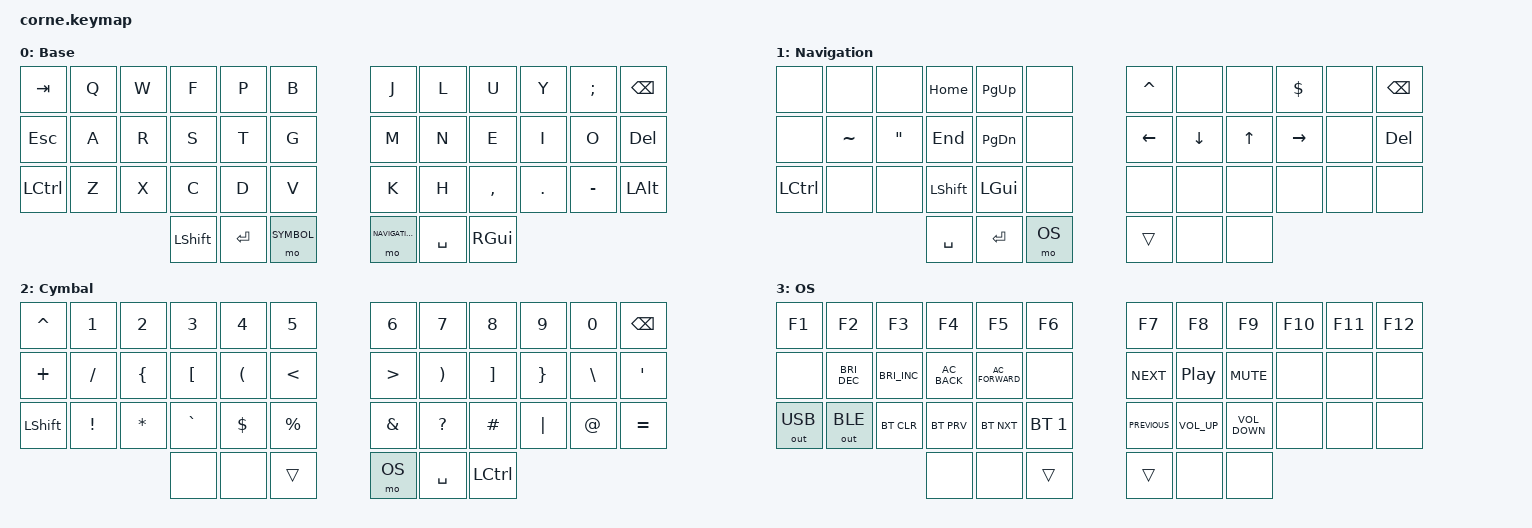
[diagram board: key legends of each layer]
#include <behaviors.dtsi>
#include <dt-bindings/zmk/keys.h>
#include <dt-bindings/zmk/bt.h>
#include <dt-bindings/zmk/matrix_transform.h>

#define NAVIGATION 1
#define SYMBOL 2
#define OS 3

/ {
    chosen {
        zmk,kscan = &kscan0;
        zmk,matrix-transform = &dactyl_transform;
    };

    keymap {
      compatible = "zmk,keymap";
      default_layer { // Layer 0
          display-name = "Base";
          bindings = <
            &kp TAB          &kp Q &kp W &kp F          &kp P     &kp B &kp J &kp L          &kp U         &kp Y   &kp SEMICOLON &kp BACKSPACE
            &kp ESCAPE       &kp A &kp R &kp S          &kp T     &kp G &kp M &kp N          &kp E         &kp I   &kp O         &kp DELETE
            &kp LEFT_CONTROL &kp Z &kp X &kp C          &kp D     &kp V &kp K &kp H          &kp COMMA     &kp DOT &kp MINUS     &kp LEFT_ALT
                                         &kp LEFT_SHIFT &kp ENTER &mo SYMBOL  &mo NAVIGATION &kp SPACE &kp RIGHT_GUI
          >;
        };

      navigation { // Layer 1
          display-name = "Navigation";
          bindings = <
            &none            &none     &none             &kp HOME       &kp PAGE_UP   &none  &kp CARET &none    &none  &kp DOLLAR &none &kp BACKSPACE
            &none            &kp TILDE &kp DOUBLE_QUOTES &kp END        &kp PAGE_DOWN &none  &kp LEFT  &kp DOWN &kp UP &kp RIGHT  &none &kp DELETE
            &kp LEFT_CONTROL &none     &none             &kp LEFT_SHIFT &kp LEFT_GUI  &none  &none     &none    &none  &none      &none &none
                                                         &kp SPACE      &kp ENTER     &mo OS &trans    &none    &none
          >;
        };

      symbol { // Layer 2
          display-name = "Cymbal";
          bindings = <
            &kp CARET      &kp N1    &kp N2         &kp N3           &kp N4               &kp N5      &kp N6   &kp N7                &kp N8            &kp N9          &kp N0        &kp BACKSPACE
            &kp PLUS       &kp SLASH &kp LEFT_BRACE &kp LEFT_BRACKET &kp LEFT_PARENTHESIS &kp LT      &kp GT   &kp RIGHT_PARENTHESIS &kp RIGHT_BRACKET &kp RIGHT_BRACE &kp BACKSLASH &kp SINGLE_QUOTE
            &kp LEFT_SHIFT &kp EXCL  &kp ASTRK      &kp GRAVE        &kp DOLLAR           &kp PERCENT &kp AMPS &kp QUESTION          &kp HASH          &kp PIPE        &kp AT        &kp EQUAL
                                                    &none            &none                &trans      &mo OS   &kp SPACE             &kp LEFT_CONTROL
          >;
        };

      os { // Layer 3
          display-name = "OS";
          bindings = <
            &kp F1 &kp F2               &kp F3               &kp F4        &kp F5           &kp F6       &kp F7         &kp F8           &kp F9            &kp F10 &kp F11 &kp F12
            &none  &kp C_BRIGHTNESS_DEC &kp C_BRIGHTNESS_INC &kp C_AC_BACK &kp C_AC_FORWARD &none        &kp C_NEXT     &kp C_PLAY_PAUSE &kp C_MUTE        &none   &none   &none
            &out OUT_USB  &out OUT_BLE  &bt BT_CLR           &bt BT_PRV    &bt BT_NXT       &bt BT_SEL 1 &kp C_PREVIOUS &kp C_VOLUME_UP  &kp C_VOLUME_DOWN &none   &none   &none
                                                             &none         &none            &trans       &trans         &none            &none
          >;
        };

      //qwerty { // Layer 4
      //    display-name = "QWERTY";
      //    bindings = <
      //      &kp ESCAPE       &kp Q &kp W &kp E          &kp R     &kp T &kp Y &kp U     &kp I        &kp O   &kp P         &kp BACKSPACE
      //      &kp TAB          &kp A &kp S &kp D          &kp F     &kp G &kp H &kp J     &kp K        &kp L   &kp SEMICOLON &to 0
      //      &kp LEFT_CONTROL &kp Z &kp X &kp C          &kp V     &kp B &kp N &kp M     &kp COMMA    &kp DOT &kp SLASH     &kp LEFT_ALT
      //                                   &kp LEFT_SHIFT &kp ENTER &mo 2 &mo 1 &kp SPACE &kp LEFT_GUI
      //    >;
      //  };
  };

    dactyl_transform: matrix_transform {
      compatible = "zmk,matrix-transform";
      columns = <12>;
      rows = <4>;
      map = <
        RC(0,0) RC(0,1) RC(0,2) RC(0,3) RC(0,4) RC(0,5)  RC(0,11) RC(0,10) RC(0,9) RC(0,8) RC(0,7) RC(0,6)
        RC(1,0) RC(1,1) RC(1,2) RC(1,3) RC(1,4) RC(1,5)  RC(1,11) RC(1,10) RC(1,9) RC(1,8) RC(1,7) RC(1,6)
        RC(2,0) RC(2,1) RC(2,2) RC(2,3) RC(2,4) RC(2,5)  RC(2,11) RC(2,10) RC(2,9) RC(2,8) RC(2,7) RC(2,6)
                                RC(3,3) RC(3,4) RC(3,1)  RC(3,7) RC(3,10) RC(3,9)
      >;
  };

    kscan0: kscan {
      compatible = "zmk,kscan-gpio-matrix";
      diode-direction = "row2col";

      row-gpios
        = <&pro_micro 4 GPIO_ACTIVE_HIGH>
        , <&pro_micro 5 GPIO_ACTIVE_HIGH>
        , <&pro_micro 6 GPIO_ACTIVE_HIGH>
        , <&pro_micro 7 GPIO_ACTIVE_HIGH>
        ;

      col-gpios
        = <&pro_micro 21 (GPIO_PULL_DOWN | GPIO_ACTIVE_HIGH)>
        , <&pro_micro 20 (GPIO_PULL_DOWN | GPIO_ACTIVE_HIGH)>
        , <&pro_micro 19 (GPIO_PULL_DOWN | GPIO_ACTIVE_HIGH)>
        , <&pro_micro 18 (GPIO_PULL_DOWN | GPIO_ACTIVE_HIGH)>
        , <&pro_micro 15 (GPIO_PULL_DOWN | GPIO_ACTIVE_HIGH)>
        , <&pro_micro 14 (GPIO_PULL_DOWN | GPIO_ACTIVE_HIGH)>
        ;
    };
};
